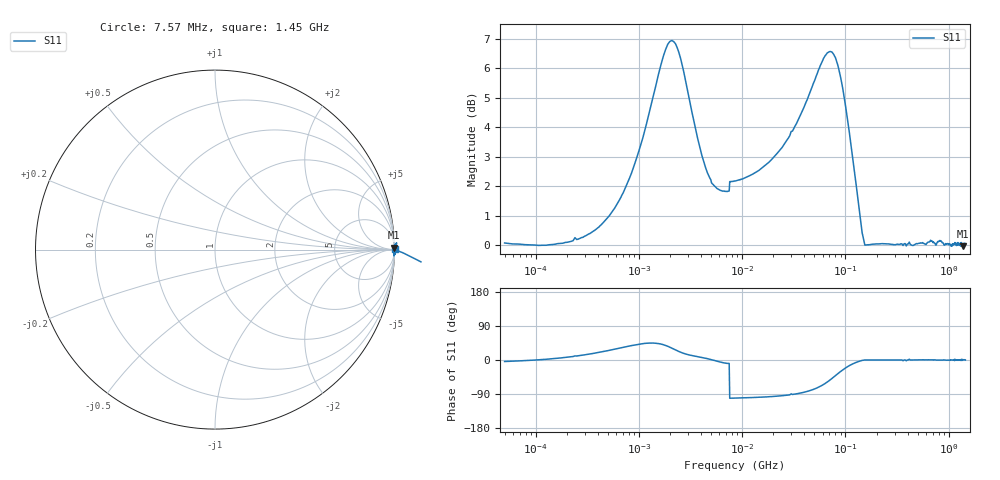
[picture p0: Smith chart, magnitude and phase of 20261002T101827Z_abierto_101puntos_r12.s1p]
! piloto_saltos / abierto_101puntos / r12
# HZ S RI R 50
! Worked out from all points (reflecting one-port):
!   501 points, 50 kHz to 1.45 GHz, reference 50 ohm
!   lowest |S11| = 0.0 dB at 1.369 GHz (marker M1), VSWR 568.41, Z = 2.51e+03 + j8.07e+03 ohm
!   phase of S11 starts at -4 deg and turns +4 deg over the sweep
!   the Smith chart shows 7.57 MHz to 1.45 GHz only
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50000  1.007 -0.0697
183000  1.002 0.1061
363500  1.008 0.318
658000  1.021 0.6301
1180000  1.149 1.118
1630000  1.496 1.356
1990000  1.84 1.232
2440000  1.959 0.8063
3430000  1.585 0.291
4870000  1.298 0.0429
7300000  1.219 -0.1919
7750000  -0.2413 -1.259
8560000  -0.2338 -1.263
1.81e7  -0.1693 -1.371
3.16e7  -0.0122 -1.577
4.69e7  0.3394 -1.813
5.68e7  0.6985 -1.886
6.49e7  1.043 -1.828
7.39e7  1.4 -1.598
8.65e7  1.652 -1.101
9.82e7  1.627 -0.6744
1e8  1.61 -0.6198
1.18e8  1.377 -0.2432
1.36e8  1.147 -0.0682
1.63e8  1.002 0.000545
4.06e8  1.005 0.0011
1.369e9  0.9964 0.0113
1.45e9  1.004 0.00356
